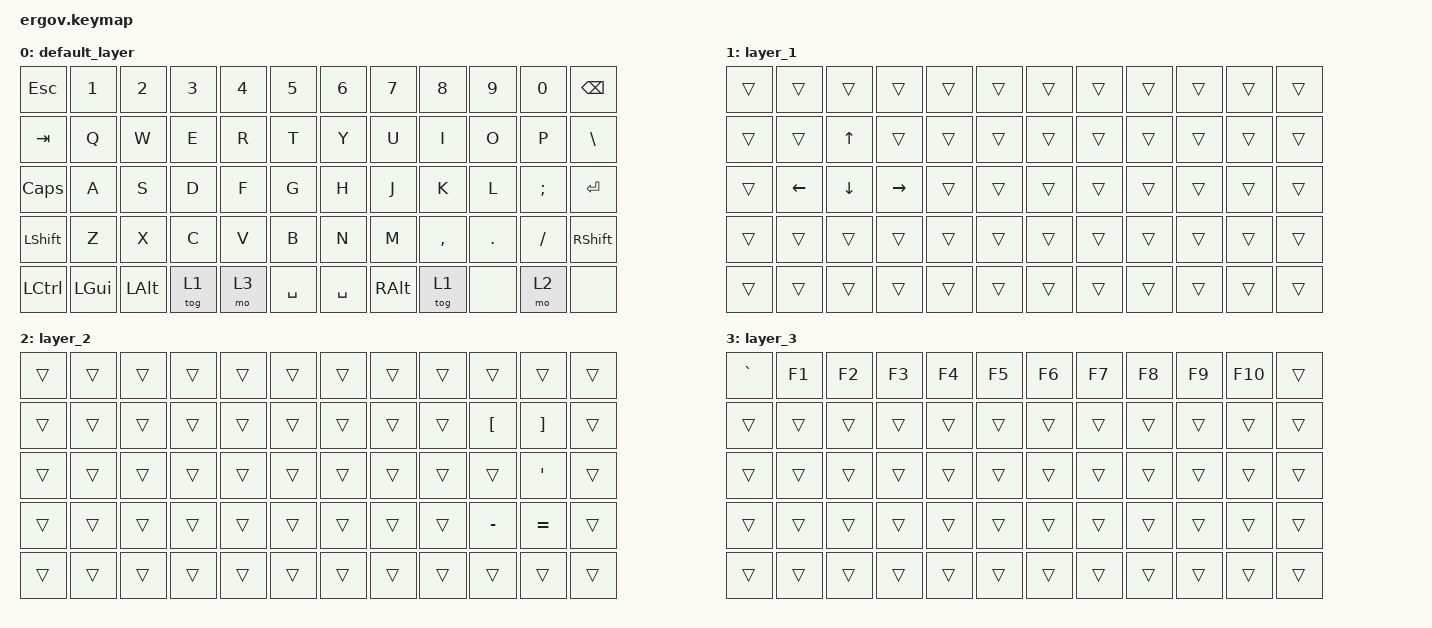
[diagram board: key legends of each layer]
/*
 * Copyright (c) 2020 The ZMK Contributors
 *
 * SPDX-License-Identifier: MIT
 */

#include <behaviors.dtsi>
#include <dt-bindings/zmk/keys.h>
#include <dt-bindings/zmk/bt.h>

/ {
        keymap {
                compatible = "zmk,keymap";

                default_layer {
// -----------------------------------------------------------------------------------------
// |  ESC |  1  |  2  |  3  |  4  |  5  |   |  6  |  7   |  8  |  9  |  0  |  BSPC|
// |  TAB |  Q  |  W  |  E  |  R  |  T  |   |  Y  |  U   |  I  |  O  |  P  |  \   |
// | CAPS |  A  |  S  |  D  |  F  |  G  |   |  H  |  J   |  K  |  L  |  ;  |  ENT |
// | SHFT |  Z  |  X  |  C  |  V  |  B  |   |  N  |  M   |  ,  |  .  |  /  | SHFT |
// | CTRL | GUI | LALT|  T1 |  FN | SPC |   |  SPC| ALT  |  FN |     |  L2 |      |
                        bindings = <
   &kp ESC   &kp N1   &kp N2    &kp N3   &kp N4 &kp N5      &kp N6    &kp N7   &kp N8    &kp N9  &kp N0   &kp BSPC
   &kp TAB   &kp Q    &kp W     &kp E    &kp R  &kp T       &kp Y     &kp U    &kp I     &kp O   &kp P    &kp BSLH
   &kp CAPS  &kp A    &kp S     &kp D    &kp F  &kp G       &kp H     &kp J    &kp K     &kp L   &kp SEMI &kp RET
   &kp LSHFT &kp Z    &kp X     &kp C    &kp V  &kp B       &kp N     &kp M    &kp COMMA &kp DOT &kp FSLH &kp RSHFT
   &kp LCTRL &kp LGUI &kp LALT  &tog 1   &mo 3  &kp SPACE   &kp SPACE &kp RALT &tog 1    &none   &mo 2    &none 
                        >;
                };
                layer_1 {
// -----------------------------------------------------------------------------------------
// |      |     |     |     |     |     |   |     |     |     |     |     |      |
// |      |     | UP  |     |     |     |   |     |     |     |     |     |      |
// |      | LEFT| DOWN| RGHT|     |     |   |     |     |     |     |     |      |
// |      |     |     |     |     |     |   |     |     |     |     |     |      |
// |      |     |     |     |     |     |   |     |     |     |     |     |      |
                        bindings = <
   &trans     &trans       &trans       &trans       &trans       &trans         &trans   &trans   &trans  &trans    &trans   &trans
   &trans     &trans       &kp UP       &trans       &trans       &trans         &trans   &trans   &trans  &trans    &trans   &trans
   &trans     &kp LEFT     &kp DOWN     &kp RIGHT    &trans       &trans         &trans   &trans   &trans  &trans    &trans   &trans
   &trans     &trans       &trans       &trans       &trans       &trans         &trans   &trans   &trans  &trans    &trans   &trans
   &trans     &trans       &trans       &trans       &trans       &trans         &trans   &trans   &trans  &trans    &trans   &trans
                        >;
                };

                layer_2 {
// -----------------------------------------------------------------------------------------
// |      |     |     |     |     |     |   |     |     |     |     |     |     |
// |      |     |     |     |     |     |   |     |     |     |  [  |  ]  |     |
// |      |     |     |     |     |     |   |     |     |     |     |  '  |     |
// |      |     |     |     |     |     |   |     |     |     |  -  |  =  |     |
// |      |     |     |     |     |     |   |     |     |     |     |     |     |
                        bindings = <
   &trans    &trans   &trans &trans   &trans   &trans      &trans    &trans    &trans    &trans    &trans    &trans
   &trans    &trans   &trans &trans   &trans   &trans      &trans    &trans    &trans    &kp LBKT  &kp RBKT  &trans
   &trans    &trans   &trans &trans   &trans   &trans      &trans    &trans    &trans    &trans    &kp SQT   &trans
   &trans    &trans   &trans &trans   &trans   &trans      &trans    &trans    &trans    &kp MINUS &kp EQUAL &trans
   &trans    &trans   &trans &trans   &trans   &trans      &trans    &trans    &trans    &trans    &trans    &trans
                        >;
                };
                layer_3 {
// -----------------------------------------------------------------------------------------
// |  `   | F1  | F2  | F3  | F4  | F5  |   | F6  | F7  | F8  | F9  | F10 |      |
// |      |     |     |     |     |     |   |     |     |     |     |     |      |
// |      |     |     |     |     |     |   |     |     |     |     |     |      |
// |      |     |     |     |     |     |   |     |     |     |     |     |      |
// |      |     |     |     |     |     |   |     |     |     |     |     |      |
                        bindings = <
   &kp GRAVE  &kp F1       &kp F2       &kp F3       &kp F4       &kp F5         &kp F6   &kp F7   &kp F8  &kp F9    &kp F10  &trans
   &trans     &trans       &trans       &trans       &trans       &trans         &trans   &trans   &trans  &trans    &trans   &trans
   &trans     &trans       &trans       &trans       &trans       &trans         &trans   &trans   &trans  &trans    &trans   &trans
   &trans     &trans       &trans       &trans       &trans       &trans         &trans   &trans   &trans  &trans    &trans   &trans
   &trans     &trans       &trans       &trans       &trans       &trans         &trans   &trans   &trans  &trans    &trans   &trans
                        >;
                };
        };
};
